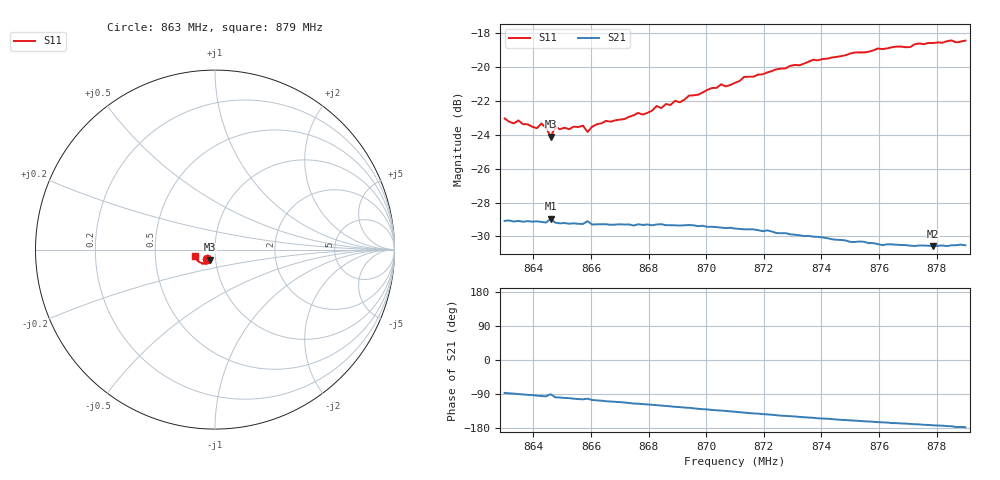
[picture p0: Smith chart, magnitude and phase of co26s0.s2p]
# HZ S RI R 50
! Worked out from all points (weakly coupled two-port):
!   101 points, 863 MHz to 879 MHz, reference 50 ohm
!   highest |S21| = -28.96 dB at 864.6 MHz (marker M1); lowest = -30.6 dB at 877.88 MHz (marker M2)
!   lowest |S11| = -24.1 dB at 864.6 MHz (marker M3), VSWR 1.13, Z = 47.1 - j5.3 ohm
!   |S11| at or under -10 dB: start of sweep to end of sweep
!   S12 and S22 are empty: the file has one direction only
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8.63e8  -0.0447 -0.0546  0.00197 -0.0351  0 0  0 0
8.6412e8  -0.0376 -0.0543  -0.00249 -0.0349  0 0  0 0
8.6428e8  -0.0377 -0.0568  -0.00311 -0.0347  0 0  0 0
8.646e8  -0.0271 -0.0561  -0.000193 -0.0356  0 0  0 0
8.6476e8  -0.0363 -0.0558  -0.00506 -0.0343  0 0  0 0
8.6524e8  -0.0342 -0.0559  -0.0064 -0.0338  0 0  0 0
8.6572e8  -0.0341 -0.0579  -0.00815 -0.0334  0 0  0 0
8.6588e8  -0.0316 -0.0561  -0.0073 -0.0343  0 0  0 0
8.6604e8  -0.0339 -0.0574  -0.00921 -0.033  0 0  0 0
8.6652e8  -0.0331 -0.061  -0.0111 -0.0325  0 0  0 0
8.6764e8  -0.0347 -0.0646  -0.0147 -0.031  0 0  0 0
8.678e8  -0.034 -0.064  -0.0151 -0.0306  0 0  0 0
8.6828e8  -0.0352 -0.0683  -0.0167 -0.0299  0 0  0 0
8.6844e8  -0.0349 -0.0672  -0.0173 -0.0297  0 0  0 0
8.7052e8  -0.0456 -0.0765  -0.0231 -0.0244  0 0  0 0
8.7068e8  -0.0448 -0.0754  -0.0235 -0.0238  0 0  0 0
8.71e8  -0.0478 -0.0761  -0.0242 -0.0229  0 0  0 0
8.7132e8  -0.0517 -0.0781  -0.025 -0.0218  0 0  0 0
8.7372e8  -0.0704 -0.0782  -0.028 -0.0145  0 0  0 0
8.7644e8  -0.0965 -0.0616  -0.0291 -0.00706  0 0  0 0
8.7788e8  -0.107 -0.0496  -0.0293 -0.00392  0 0  0 0
8.79e8  -0.1136 -0.0382  -0.0297 -0.00132  0 0  0 0
